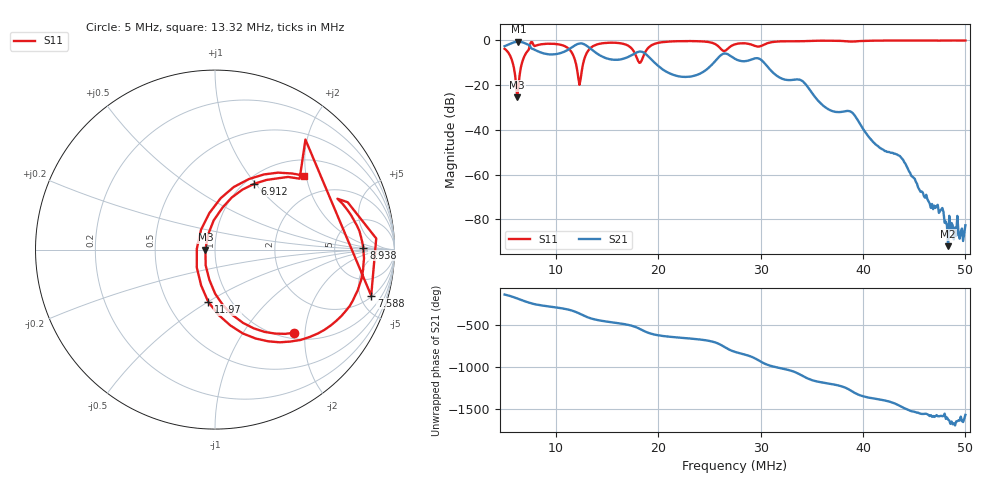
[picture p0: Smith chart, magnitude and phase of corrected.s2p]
! S11/S21 only; reverse parameters are placeholders. Device calibration unverified.
! [Saver CAL applied] C:\Users\aknya\MyProjects\rf-simulator\calibration2.cal | Ideal standards assumed | Input: NanoVNA F V2 profile | COM3 | 2026-09-08T12:00:20.2286523-04:00 | device calibration unverified
# HZ S RI R 50
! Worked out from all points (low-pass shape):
!   401 points, 5 MHz to 50 MHz, reference 50 ohm
!   highest |S21| = -0.69 dB at 6.35 MHz (marker M1); lowest = -91.9 dB at 48.31 MHz (marker M2)
!   |S21| within 3 dB of the highest: start of sweep to 7.63 MHz; 11.41 MHz to 13.36 MHz (1.945 MHz wide, 15.7 % of centre)
!   lowest |S11| = -25.4 dB at 6.237 MHz (marker M3), VSWR 1.11, Z = 44.9 - j0.00233 ohm
!   |S11| at or under -10 dB: 5.785 MHz to 6.71 MHz (924.3 kHz wide, 14.8 % of centre); 11.94 MHz to 12.69 MHz (756.4 kHz wide, 6.14 % of centre); 18.14 MHz to 18.25 MHz (104.4 kHz wide, 0.574 % of centre)
!   S12 and S22 are empty: the file has one direction only
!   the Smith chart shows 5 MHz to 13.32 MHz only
!   S11 on the Smith chart (normalised r, x): 5 MHz: 1.12, -1.76; 6.912 MHz: 1.10, +0.99; 7.588 MHz: 2.13, -6.21; 8.938 MHz: 10, +1; 11.97 MHz: 0.79, -0.50; 13.32 MHz: 1.38, +1.95
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5000000  0.4425 -0.463  -0.4874 -0.5469  0 0  0 0
6237500  -0.0534 -2.59e-05  -0.9227 -0.0176  0 0  0 0
6350000  -0.0382 0.0844  -0.9216 0.0677  0 0  0 0
6912500  0.2199 0.3672  -0.7496 0.4342  0 0  0 0
7587500  0.8703 -0.2568  -0.3764 0.5449  0 0  0 0
8937500  0.8264 0.0112  -0.0176 0.4983  0 0  0 0
1.1975e7  -0.0373 -0.292  0.7473 0.2541  0 0  0 0
1.25375e7  -0.0312 0.2038  0.8186 -0.1942  0 0  0 0
1.3325e7  0.4964 0.4124  0.3922 -0.5349  0 0  0 0
1.59125e7  0.8061 -0.3305  -0.1323 -0.3395  0 0  0 0
1.7375e7  0.2018 -0.6322  -0.3712 -0.268  0 0  0 0
1.81625e7  -0.3113 -0.0195  -0.5554 0.00724  0 0  0 0
1.88375e7  0.1704 0.567  -0.3621 0.3132  0 0  0 0
2.0075e7  0.8208 0.3152  -0.0379 0.2555  0 0  0 0
2.3225e7  0.9148 -0.2599  0.0774 0.1342  0 0  0 0
2.615e7  0.495 -0.3847  0.4467 -0.136  0 0  0 0
2.75e7  0.7593 -0.2738  -0.0585 -0.3788  0 0  0 0
3.03125e7  0.7287 -0.3084  -0.1842 0.261  0 0  0 0
3.50375e7  0.7004 -0.6628  0.0134 -0.0639  0 0  0 0
4.2575e7  0.4412 -0.8707  0.00286 0.00141  0 0  0 0
4.83125e7  0.2216 -0.9559  -2.5e-05 4.22e-06  0 0  0 0
5e7  0.1577 -0.9686  -5.09e-05 -5.39e-05  0 0  0 0
